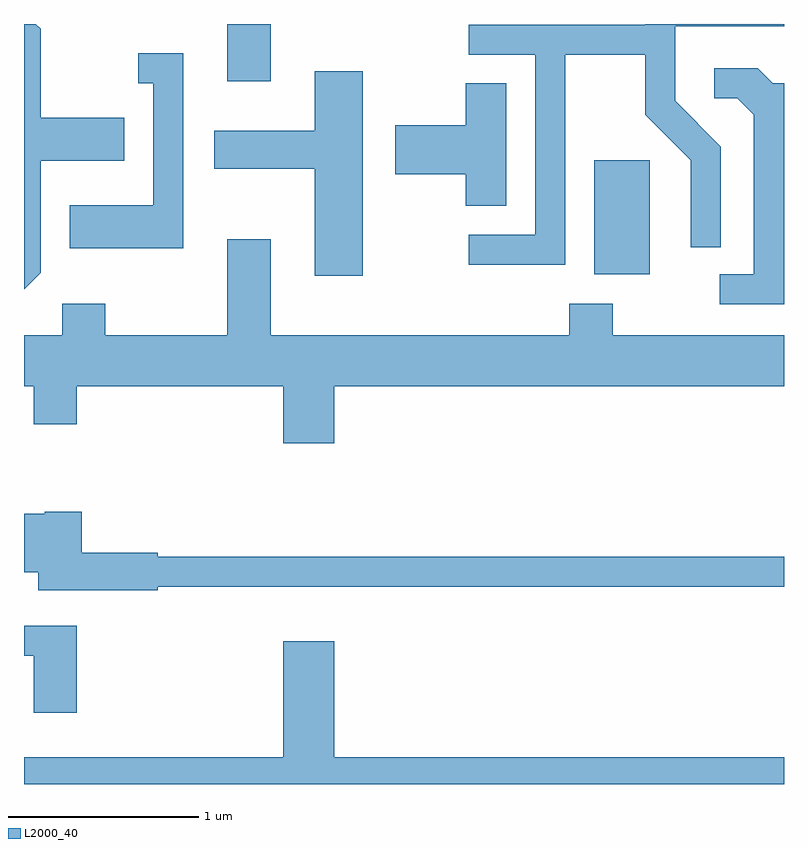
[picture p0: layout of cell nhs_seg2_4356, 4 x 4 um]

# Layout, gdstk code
import gdstk
lib = gdstk.Library(unit=1e-6, precision=1e-09)
def R(c, l, rs):  # rectangles x0, y0, x1, y1
    for r in rs: c.add(gdstk.rectangle(r[:2], r[2:], *l))
def P(c, l, *ps):  # polygons
    for p in ps: c.add(gdstk.Polygon(p, *l))
L2000_40 = (2000, 40)

nhs_seg2_4356 = lib.new_cell('nhs_seg2_4356')
R(nhs_seg2_4356, L2000_40, [(316.611,1024.486,316.904,1025.084), (314.681,1025.501,314.909,1025.802)])
P(nhs_seg2_4356, L2000_40, [(313.699,1024.494),(313.699,1025.081),(314.139,1025.081),(314.139,1025.309),(313.699,1025.309),(313.699,1025.777),(313.674,1025.802),(313.611,1025.802),(313.611,1024.405)],
  [(316.459,1025.641),(316.881,1025.641),(316.881,1025.324),(317.121,1025.084),(317.121,1024.628),(317.279,1024.628),(317.279,1025.157),(317.039,1025.397),(317.039,1025.791),(317.611,1025.791),(317.611,1025.802),(316.881,1025.802),(316.881,1025.799),(315.953,1025.799),(315.953,1025.641),(316.301,1025.641),(316.301,1024.694),(315.953,1024.694),(315.953,1024.536),(316.459,1024.536)],
  [(314.449,1025.649),(314.213,1025.649),(314.213,1025.491),(314.291,1025.491),(314.291,1024.849),(313.851,1024.849),(313.851,1024.621),(314.449,1024.621)],
  [(317.611,1025.489),(317.552,1025.489),(317.472,1025.569),(317.243,1025.569),(317.243,1025.411),(317.364,1025.411),(317.451,1025.324),(317.451,1024.484),(317.273,1024.484),(317.273,1024.326),(317.611,1024.326)],
  [(315.394,1025.554),(315.141,1025.554),(315.141,1025.239),(314.611,1025.239),(314.611,1025.041),(315.141,1025.041),(315.141,1024.476),(315.394,1024.476)],
  [(316.149,1025.489),(315.936,1025.489),(315.936,1025.269),(315.566,1025.269),(315.566,1025.011),(315.936,1025.011),(315.936,1024.846),(316.149,1024.846)],
  [(315.244,1023.896),(317.611,1023.896),(317.611,1024.164),(316.709,1024.164),(316.709,1024.329),(316.481,1024.329),(316.481,1024.164),(314.909,1024.164),(314.909,1024.669),(314.681,1024.669),(314.681,1024.164),(314.039,1024.164),(314.039,1024.329),(313.811,1024.329),(313.811,1024.164),(313.611,1024.164),(313.611,1023.896),(313.661,1023.896),(313.661,1023.696),(313.889,1023.696),(313.889,1023.896),(314.976,1023.896),(314.976,1023.596),(315.244,1023.596)],
  [(314.314,1022.841),(317.611,1022.841),(317.611,1022.999),(314.314,1022.999),(314.314,1023.019),(313.914,1023.019),(313.914,1023.234),(313.72,1023.234),(313.72,1023.224),(313.611,1023.224),(313.611,1022.916),(313.686,1022.916),(313.686,1022.821),(314.314,1022.821)],
  [(313.889,1022.634),(313.611,1022.634),(313.611,1022.476),(313.661,1022.476),(313.661,1022.176),(313.889,1022.176)],
  [(317.611,1021.944),(315.244,1021.944),(315.244,1022.554),(314.976,1022.554),(314.976,1021.944),(313.611,1021.944),(313.611,1021.802),(317.611,1021.802)])

lib.write_gds('nhs_seg2_4356.gds')
